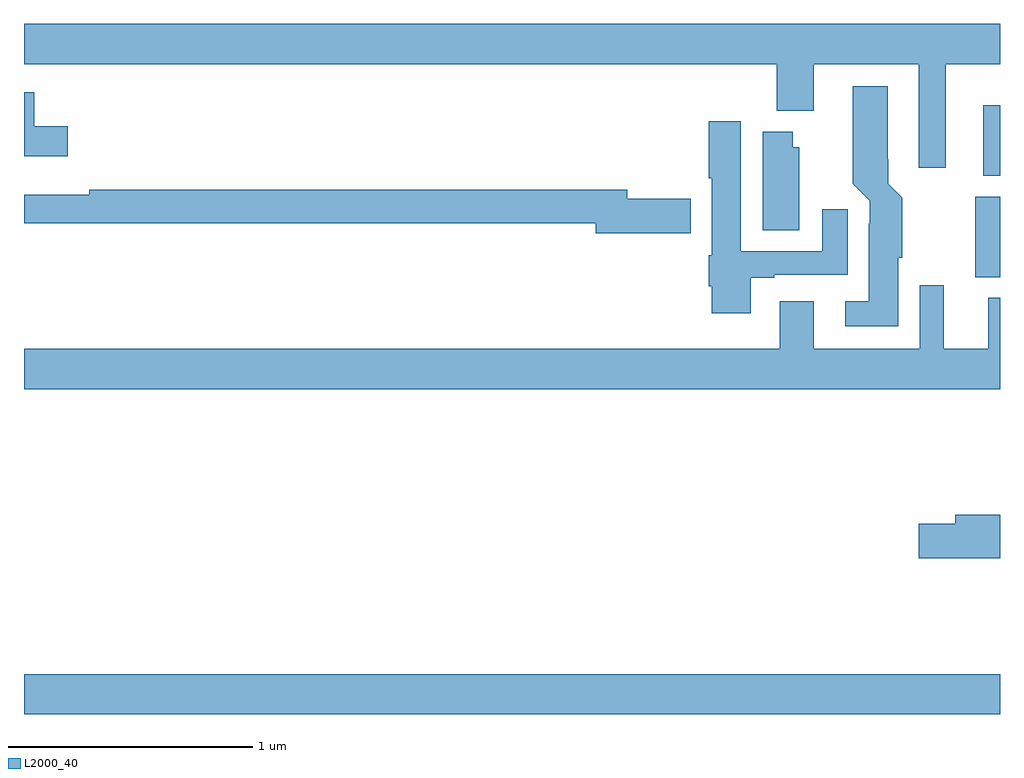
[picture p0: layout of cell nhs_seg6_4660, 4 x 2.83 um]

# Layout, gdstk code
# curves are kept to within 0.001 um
import gdstk
lib = gdstk.Library(unit=1e-6, precision=1e-09)
def R(c, l, rs):  # rectangles x0, y0, x1, y1
    for r in rs: c.add(gdstk.rectangle(r[:2], r[2:], *l))
def P(c, l, *ps):  # polygons
    for p in ps: c.add(gdstk.Polygon(p, *l))
L2000_40 = (2000, 40)

nhs_seg6_4660 = lib.new_cell('nhs_seg6_4660')
R(nhs_seg6_4660, L2000_40, [(385,993.956,389,994.12), (388.898,995.747,389,996.076), (388.931,996.161,389,996.451)])
P(nhs_seg6_4660, L2000_40, [(388.777,996.62),(389,996.62),(389,996.784),(385,996.784),(385,996.62),(388.085,996.62),(388.085,996.428),(388.237,996.428),(388.237,996.62),(388.667,996.62),(388.667,996.195),(388.777,996.195)],
  [(388.582,995.826),(388.6,995.826),(388.6,996.071),(388.541,996.13),(388.54,996.529),(388.397,996.529),(388.397,996.13),(388.467,996.06),(388.467,995.966),(388.463,995.966),(388.463,995.647),(388.365,995.647),(388.365,995.546),(388.582,995.546)],
  [(385.18,996.364),(385.042,996.364),(385.042,996.505),(385,996.505),(385,996.242),(385.18,996.242)],
  [(387.979,995.745),(388.075,995.745),(388.075,995.757),(388.375,995.757),(388.375,996.025),(388.271,996.025),(388.271,995.853),(387.937,995.853),(387.937,996.385),(387.806,996.385),(387.806,996.151),(387.818,996.151),(387.818,995.837),(387.806,995.837),(387.806,995.71),(387.818,995.71),(387.818,995.598),(387.979,995.598)],
  [(388.177,996.279),(388.15,996.279),(388.15,996.343),(388.028,996.343),(388.028,995.938),(388.177,995.938)],
  [(387.733,996.068),(387.472,996.068),(387.472,996.104),(385.267,996.104),(385.267,996.085),(385,996.085),(385,995.968),(387.344,995.968),(387.344,995.926),(387.733,995.926)],
  [(389,995.662),(388.952,995.662),(388.952,995.452),(388.769,995.452),(388.769,995.713),(388.671,995.713),(388.671,995.452),(388.237,995.452),(388.237,995.647),(388.097,995.647),(388.097,995.452),(385,995.452),(385,995.288),(389,995.288)],
  [(389,994.772),(388.817,994.772),(388.817,994.736),(388.668,994.736),(388.668,994.594),(389,994.594)])

lib.write_gds('nhs_seg6_4660.gds')
